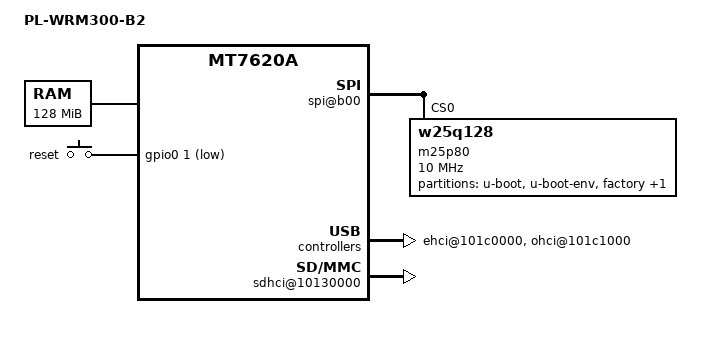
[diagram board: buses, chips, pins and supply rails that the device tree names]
/dts-v1/;

/include/ "mt7620a.dtsi"

/ {
	compatible = "ralink,plwrm300b2-board", "ralink,mt7620a-soc";
	model = "PL-WRM300-B2";
	
	memory@0 {
		device_type = "memory";
		reg = <0x0 0x8000000>;
	};
	
	palmbus@10000000 {
		gpio0: gpio@600 {
			status = "okay";
		};

		gpio1: gpio@638 {
			status = "okay";
		};
		spi@b00 {
			status = "okay";

			m25p80@0 {
				#address-cells = <1>;
				#size-cells = <1>;
				compatible = "w25q128";
				reg = <0 0>;
				linux,modalias = "m25p80", "w25q128";
				spi-max-frequency = <10000000>;

				partition@0 {
					label = "u-boot";
					reg = <0x0 0x30000>;
					read-only;
				};

				partition@30000 {
					label = "u-boot-env";
					reg = <0x30000 0x10000>;
					read-only;
				};

				factory: partition@40000 {
					label = "factory";
					reg = <0x40000 0x10000>;
					read-only;
				};

				partition@50000 {
					label = "firmware";
					reg = <0x50000 0xfb0000>;
				};
			};
		};
	};

	ehci@101c0000 {
		status = "okay";
	};

	ohci@101c1000 {
		status = "okay";
	};

	sdhci@10130000 {
		status = "okay";
	};

	ethernet@10100000 {
		pinctrl-names = "default";
		pinctrl-0 = <&ephy_pins>;
		mtd-mac-address = <&factory 0x4>;
		mediatek,portmap = "wllll";
	};

	wmac@10180000 {
		ralink,mtd-eeprom = <&factory 0>;
	};

	pinctrl {
		state_default: pinctrl0 {
			default {
				ralink,group = "i2c", "uartf", "rgmii1", "rgmii2", "ephy", "wled", "nd_sd";
				ralink,function = "gpio";
			};
		};
	};

	gpio-keys-polled {
		compatible = "gpio-keys-polled";
		#address-cells = <1>;
		#size-cells = <0>;
		poll-interval = <20>;

		reset {
			label = "reset";
			gpios = <&gpio0 1 1>;
			linux,code = <0x198>;
		};
	};

};
